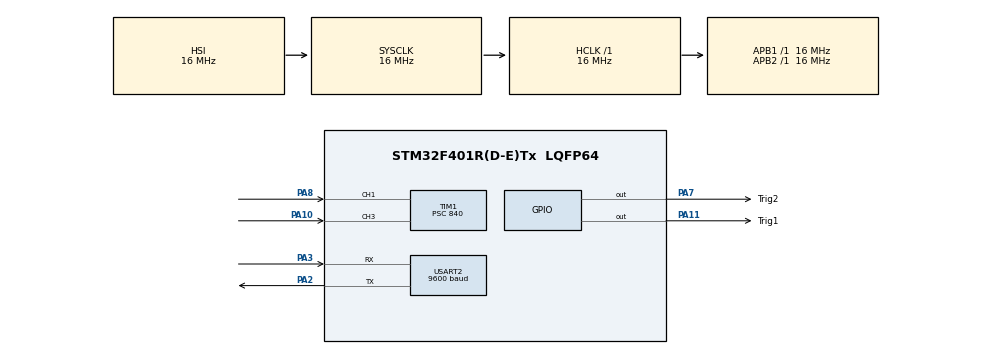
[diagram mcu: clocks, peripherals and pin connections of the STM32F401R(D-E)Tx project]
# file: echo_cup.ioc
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Mcu.Family=STM32F4
Mcu.Name=STM32F401R(D-E)Tx
Mcu.Package=LQFP64
NVIC.PriorityGroup=NVIC_PRIORITYGROUP_4
NVIC.TIM1_BRK_TIM9_IRQn=true\:0\:0\:false\:false\:true\:true\:true
NVIC.TIM1_CC_IRQn=true\:0\:0\:false\:false\:true\:true\:true
NVIC.TIM1_TRG_COM_TIM11_IRQn=true\:0\:0\:false\:false\:true\:true\:true
NVIC.TIM1_UP_TIM10_IRQn=true\:0\:0\:false\:false\:true\:true\:true
PA10.Signal=S_TIM1_CH3
PA11.GPIO_Label=Trig1
PA11.Signal=GPIO_Output
PA2.Mode=Asynchronous
PA2.Signal=USART2_TX
PA3.Mode=Asynchronous
PA3.Signal=USART2_RX
PA7.GPIO_Label=Trig2
PA7.Signal=GPIO_Output
PA8.Signal=S_TIM1_CH1
ProjectManager.HeapSize=0x200
ProjectManager.StackSize=0x400
ProjectManager.TargetToolchain=Makefile
RCC.AHBFreq_Value=16000000
RCC.APB1Freq_Value=16000000
RCC.APB2Freq_Value=16000000
RCC.CortexFreq_Value=16000000
RCC.HSE_VALUE=25000000
RCC.HSI_VALUE=16000000
RCC.LSE_VALUE=32768
RCC.SYSCLKFreq_VALUE=16000000
RCC.VCOOutputFreq_Value=192000000
SH.S_TIM1_CH1.0=TIM1_CH1,Input_Capture1_from_TI1
SH.S_TIM1_CH3.0=TIM1_CH3,Input_Capture3_from_TI3
TIM1.Channel-Input_Capture1_from_TI1=TIM_CHANNEL_1
TIM1.Channel-Input_Capture3_from_TI3=TIM_CHANNEL_3
TIM1.ICFilter_CH1=15
TIM1.ICPolarity_CH1=TIM_INPUTCHANNELPOLARITY_BOTHEDGE
TIM1.Period=1000
TIM1.Prescaler=840
USART2.BaudRate=9600
USART2.Mode=MODE_TX_RX
USART2.VirtualMode=VM_ASYNC
VP_TIM1_VS_ClockSourceINT.Mode=Internal
board=custom

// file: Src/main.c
/* USER CODE BEGIN Header */
/**
  ******************************************************************************
  * @file           : main.c
  * @brief          : Main program body
  ******************************************************************************
  * @attention
  *
  * <h2><center>&copy; Copyright (c) 2019 STMicroelectronics.
  * All rights reserved.</center></h2>
  *
  * This software component is licensed by ST under BSD 3-Clause license,
  * the "License"; You may not use this file except in compliance with the
  * License. You may obtain a copy of the License at:
  *                        opensource.org/licenses/BSD-3-Clause
  *
  ******************************************************************************
  */
/* USER CODE END Header */

#include "main.h"
#include "tim.h"
#include "usart.h"
#include "gpio.h"
#include "ultrason.h"

/* USER CODE BEGIN PV */
volatile int input_capture;
/* USER CODE END PV */

void SystemClock_Config(void);

/* USER CODE BEGIN 0 */
void HAL_TIM_IC_CaptureCallback(TIM_HandleTypeDef *htim)
{
 if (htim->Instance==TIM1)
  {
    input_capture= __HAL_TIM_GetCounter(htim);    //read TIM2 channel 1 capture value
    __HAL_TIM_SetCounter(htim, 0);    //reset counter after input capture interrupt occurs
  }
}

int detectionUS(){
	//envoie signal trigger avant
    HAL_GPIO_TogglePin(GPIOA,GPIO_PIN_11);
    HAL_Delay(0.1);
    HAL_GPIO_TogglePin(GPIOA,GPIO_PIN_11);

    int count = input_capture; //__HAL_TIM_GetCounter(&htim1); //unite cm
    //input_capture = __HAL_TIM_GetCompare(&htim1,TIM_CHANNEL_1);
    HAL_Delay(100);

	return count;
}
/* USER CODE END 0 */

int main(void)
{
  /* USER CODE BEGIN 1 */
  char buffer[50];
  int n;

  /* USER CODE END 1 */

  /* MCU Configuration--------------------------------------------------------*/

  /* Reset of all peripherals, Initializes the Flash interface and the Systick. */
  HAL_Init();

  /* Configure the system clock */
  SystemClock_Config();

  /* Initialize all configured peripherals */
  MX_GPIO_Init();
  MX_TIM1_Init();
  MX_USART2_UART_Init();
  /* USER CODE BEGIN 2 */
  HAL_TIM_IC_Start_IT(&htim1,TIM_CHANNEL_1);
  //HAL_TIM_IC_Start_IT(&htim1,TIM_CHANNEL_3);
  /* USER CODE END 2 */

  /* Infinite loop */
  /* USER CODE BEGIN WHILE */
  long int count;
  while (1)
  {
	count = detectionUS();

    n=sprintf (buffer, "\033[J\rcount: %ld et capture: %d\n", count, input_capture);
    HAL_UART_Transmit(&huart2,buffer,n,0xFFF);
    /* USER CODE END WHILE */

  }
}

void SystemClock_Config(void)
{
  RCC_OscInitTypeDef RCC_OscInitStruct = {0};
  RCC_ClkInitTypeDef RCC_ClkInitStruct = {0};

  /** Configure the main internal regulator output voltage
  */
  __HAL_RCC_PWR_CLK_ENABLE();
  __HAL_PWR_VOLTAGESCALING_CONFIG(PWR_REGULATOR_VOLTAGE_SCALE2);
  /** Initializes the CPU, AHB and APB busses clocks
  */
  RCC_OscInitStruct.OscillatorType = RCC_OSCILLATORTYPE_HSI;
  RCC_OscInitStruct.HSIState = RCC_HSI_ON;
  RCC_OscInitStruct.HSICalibrationValue = RCC_HSICALIBRATION_DEFAULT;
  RCC_OscInitStruct.PLL.PLLState = RCC_PLL_NONE;
  if (HAL_RCC_OscConfig(&RCC_OscInitStruct) != HAL_OK)
  {
    Error_Handler();
  }
  /** Initializes the CPU, AHB and APB busses clocks
  */
  RCC_ClkInitStruct.ClockType = RCC_CLOCKTYPE_HCLK|RCC_CLOCKTYPE_SYSCLK
                              |RCC_CLOCKTYPE_PCLK1|RCC_CLOCKTYPE_PCLK2;
  RCC_ClkInitStruct.SYSCLKSource = RCC_SYSCLKSOURCE_HSI;
  RCC_ClkInitStruct.AHBCLKDivider = RCC_SYSCLK_DIV1;
  RCC_ClkInitStruct.APB1CLKDivider = RCC_HCLK_DIV1;
  RCC_ClkInitStruct.APB2CLKDivider = RCC_HCLK_DIV1;

  if (HAL_RCC_ClockConfig(&RCC_ClkInitStruct, FLASH_LATENCY_0) != HAL_OK)
  {
    Error_Handler();
  }
}

void Error_Handler(void)
{
}

/************************ (C) COPYRIGHT STMicroelectronics *****END OF FILE****/
